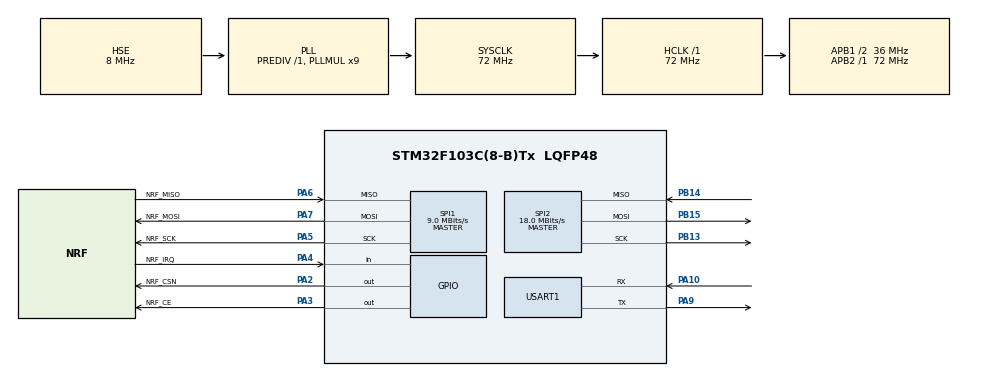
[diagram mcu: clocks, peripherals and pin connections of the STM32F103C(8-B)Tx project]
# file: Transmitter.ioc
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Dma.Request0=USART1_RX
Dma.USART1_RX.0.Direction=DMA_PERIPH_TO_MEMORY
Dma.USART1_RX.0.Instance=DMA1_Channel5
Dma.USART1_RX.0.MemDataAlignment=DMA_MDATAALIGN_BYTE
Dma.USART1_RX.0.MemInc=DMA_MINC_ENABLE
Dma.USART1_RX.0.Mode=DMA_NORMAL
Dma.USART1_RX.0.PeriphDataAlignment=DMA_PDATAALIGN_BYTE
Dma.USART1_RX.0.PeriphInc=DMA_PINC_DISABLE
Dma.USART1_RX.0.Priority=DMA_PRIORITY_LOW
Mcu.Family=STM32F1
Mcu.Name=STM32F103C(8-B)Tx
Mcu.Package=LQFP48
NVIC.DMA1_Channel5_IRQn=true\:0\:0\:false\:false\:true\:false\:true
NVIC.PriorityGroup=NVIC_PRIORITYGROUP_2
NVIC.USART1_IRQn=true\:0\:0\:false\:false\:true\:true\:true
PA10.Mode=Asynchronous
PA10.Signal=USART1_RX
PA13.Mode=Serial_Wire
PA13.Signal=SYS_JTMS-SWDIO
PA14.Mode=Serial_Wire
PA14.Signal=SYS_JTCK-SWCLK
PA2.GPIO_Label=NRF_CSN
PA2.PinState=GPIO_PIN_SET
PA2.Signal=GPIO_Output
PA3.GPIO_Label=NRF_CE
PA3.PinState=GPIO_PIN_SET
PA3.Signal=GPIO_Output
PA4.GPIO_Label=NRF_IRQ
PA4.Signal=GPIO_Input
PA5.GPIO_Label=NRF_SCK
PA5.Mode=Full_Duplex_Master
PA5.Signal=SPI1_SCK
PA6.GPIO_Label=NRF_MISO
PA6.Mode=Full_Duplex_Master
PA6.Signal=SPI1_MISO
PA7.GPIO_Label=NRF_MOSI
PA7.Mode=Full_Duplex_Master
PA7.Signal=SPI1_MOSI
PA9.Mode=Asynchronous
PA9.Signal=USART1_TX
PB13.Mode=Full_Duplex_Master
PB13.Signal=SPI2_SCK
PB14.Mode=Full_Duplex_Master
PB14.Signal=SPI2_MISO
PB15.Mode=Full_Duplex_Master
PB15.Signal=SPI2_MOSI
PC14-OSC32_IN.Mode=LSE-External-Oscillator
PC14-OSC32_IN.Signal=RCC_OSC32_IN
PC15-OSC32_OUT.Mode=LSE-External-Oscillator
PC15-OSC32_OUT.Signal=RCC_OSC32_OUT
PD0-OSC_IN.Mode=HSE-External-Oscillator
PD0-OSC_IN.Signal=RCC_OSC_IN
PD1-OSC_OUT.Mode=HSE-External-Oscillator
PD1-OSC_OUT.Signal=RCC_OSC_OUT
ProjectManager.HeapSize=0x200
ProjectManager.StackSize=0x400
ProjectManager.TargetToolchain=MDK-ARM V5.27
RCC.ADCPresc=RCC_ADCPCLK2_DIV6
RCC.AHBFreq_Value=72000000
RCC.APB1CLKDivider=RCC_HCLK_DIV2
RCC.APB1Freq_Value=36000000
RCC.APB1TimFreq_Value=72000000
RCC.APB2Freq_Value=72000000
RCC.APB2TimFreq_Value=72000000
RCC.HCLKFreq_Value=72000000
RCC.PLLMUL=RCC_PLL_MUL9
RCC.PLLSourceVirtual=RCC_PLLSOURCE_HSE
RCC.SYSCLKFreq_VALUE=72000000
RCC.SYSCLKSource=RCC_SYSCLKSOURCE_PLLCLK
RCC.USBFreq_Value=48000000
RCC.USBPrescaler=RCC_USBCLKSOURCE_PLL_DIV1_5
SPI1.BaudRatePrescaler=SPI_BAUDRATEPRESCALER_8
SPI1.CalculateBaudRate=9.0 MBits/s
SPI1.Direction=SPI_DIRECTION_2LINES
SPI1.Mode=SPI_MODE_MASTER
SPI1.VirtualType=VM_MASTER
SPI2.CalculateBaudRate=18.0 MBits/s
SPI2.Direction=SPI_DIRECTION_2LINES
SPI2.Mode=SPI_MODE_MASTER
SPI2.VirtualType=VM_MASTER
USART1.VirtualMode=VM_ASYNC
board=custom

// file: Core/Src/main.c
/* USER CODE BEGIN Header */
/**
  ******************************************************************************
  * @file           : main.c
  * @brief          : Main program body
  ******************************************************************************
  * @attention
  *
  * <h2><center>&copy; Copyright (c) 2021 STMicroelectronics.
  * All rights reserved.</center></h2>
  *
  * This software component is licensed by ST under BSD 3-Clause license,
  * the "License"; You may not use this file except in compliance with the
  * License. You may obtain a copy of the License at:
  *                        opensource.org/licenses/BSD-3-Clause
  *
  ******************************************************************************
  */
/* USER CODE END Header */
#include "main.h"
#include "dma.h"
#include "spi.h"
#include "usart.h"
#include "gpio.h"

/* USER CODE BEGIN Includes */
#include "24l01.h"
/* USER CODE END Includes */

/* USER CODE BEGIN PV */
extern uint16_t adc_buff[10][2];
/* USER CODE END PV */

void SystemClock_Config(void);

int main(void)
{
  /* USER CODE BEGIN 1 */
  uint8_t buff[10] = {"hello\r\n"};
  u8 key = 0, mode;
  u16 t = 0;
  u8 tmp_buf[33];
  /* USER CODE END 1 */

  /* MCU Configuration--------------------------------------------------------*/

  /* Reset of all peripherals, Initializes the Flash interface and the Systick. */
  HAL_Init();

  /* Configure the system clock */
  SystemClock_Config();

  /* Initialize all configured peripherals */
  MX_GPIO_Init();
  MX_DMA_Init();
  MX_SPI1_Init();
  MX_SPI2_Init();
  MX_USART1_UART_Init();
  /* USER CODE BEGIN 2 */

  //HAL_ADC_Start_DMA(&hadc1, (uint32_t *)adc_buff, 20);

  NRF24L01_Init();
  while (NRF24L01_Check())
  {
    //HAL_GPIO_TogglePin(LED_GPIO_Port, LED_Pin);
    printf("no nrf24l01  ");
    HAL_Delay(3000);
  }
  for (t = 0; t < 32; t++)
  {
    key++;
    if (key > ('~'))
      key = ' ';
    tmp_buf[t] = key;
  }
  NRF24L01_TX_Mode();
  mode = ' '; //从空格键开始
  while (1)
  {
		HAL_Delay(3000);
    if (NRF24L01_TxPacket(tmp_buf) == TX_OK)
    {
      //HAL_GPIO_WritePin(LED_GPIO_Port, LED_Pin, 1);
      printf("transmit data succcess  ");
    }
    else
    {
      //			HAL_GPIO_TogglePin(LED_GPIO_Port, LED_Pin);
    };
    //	HAL_Delay(1);
  };
  /* USER CODE END 2 */

  /* Infinite loop */
  while (1)
  {

    /* USER CODE BEGIN 3 */
    HAL_Delay(1000);
    //HAL_GPIO_WritePin(LED_GPIO_Port, LED_Pin, 1);
    //		CDC_Transmit_FS(adc_buff[][1], sizeof(adc_buff[][1]));
    //		HAL_GPIO_TogglePin(LED_GPIO_Port, LED_Pin);
    //		HAL_Delay(300);
  }
  /* USER CODE END 3 */
}

void SystemClock_Config(void)
{
  RCC_OscInitTypeDef RCC_OscInitStruct = {0};
  RCC_ClkInitTypeDef RCC_ClkInitStruct = {0};

  /** Initializes the RCC Oscillators according to the specified parameters
  * in the RCC_OscInitTypeDef structure.
  */
  RCC_OscInitStruct.OscillatorType = RCC_OSCILLATORTYPE_HSE;
  RCC_OscInitStruct.HSEState = RCC_HSE_ON;
  RCC_OscInitStruct.HSEPredivValue = RCC_HSE_PREDIV_DIV1;
  RCC_OscInitStruct.HSIState = RCC_HSI_ON;
  RCC_OscInitStruct.PLL.PLLState = RCC_PLL_ON;
  RCC_OscInitStruct.PLL.PLLSource = RCC_PLLSOURCE_HSE;
  RCC_OscInitStruct.PLL.PLLMUL = RCC_PLL_MUL9;
  if (HAL_RCC_OscConfig(&RCC_OscInitStruct) != HAL_OK)
  {
    Error_Handler();
  }
  /** Initializes the CPU, AHB and APB buses clocks
  */
  RCC_ClkInitStruct.ClockType = RCC_CLOCKTYPE_HCLK|RCC_CLOCKTYPE_SYSCLK
                              |RCC_CLOCKTYPE_PCLK1|RCC_CLOCKTYPE_PCLK2;
  RCC_ClkInitStruct.SYSCLKSource = RCC_SYSCLKSOURCE_PLLCLK;
  RCC_ClkInitStruct.AHBCLKDivider = RCC_SYSCLK_DIV1;
  RCC_ClkInitStruct.APB1CLKDivider = RCC_HCLK_DIV2;
  RCC_ClkInitStruct.APB2CLKDivider = RCC_HCLK_DIV1;

  if (HAL_RCC_ClockConfig(&RCC_ClkInitStruct, FLASH_LATENCY_2) != HAL_OK)
  {
    Error_Handler();
  }
}

void Error_Handler(void)
{
}

/************************ (C) COPYRIGHT STMicroelectronics *****END OF FILE****/
